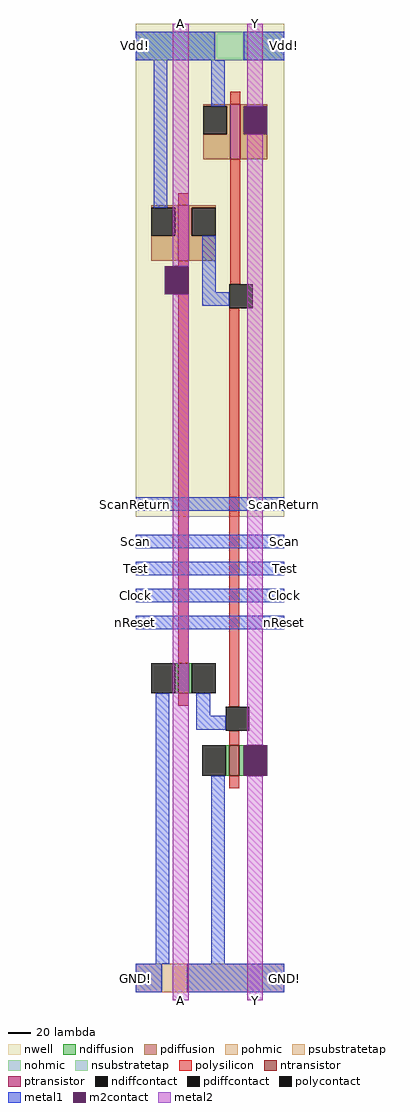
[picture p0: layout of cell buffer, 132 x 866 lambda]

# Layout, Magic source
magic
tech tsmc180
<< nwell >>
rect 0 429 132 866
<< polysilicon >>
rect 84 795 93 806
rect 38 705 47 716
rect 38 651 47 656
rect 84 635 93 746
rect 38 299 47 626
rect 38 261 47 272
rect 83 260 92 614
rect 83 226 92 239
rect 83 188 92 199
<< ndiffusion >>
rect 35 272 38 299
rect 47 272 50 299
rect 80 199 83 226
rect 92 199 96 226
<< pdiffusion >>
rect 60 793 84 795
rect 81 768 84 793
rect 60 746 84 768
rect 93 793 117 795
rect 93 768 96 793
rect 93 746 117 768
rect 14 703 38 705
rect 35 678 38 703
rect 14 656 38 678
rect 47 703 71 705
rect 47 678 50 703
rect 47 656 71 678
<< pohmic >>
rect 0 7 23 32
rect 46 7 132 32
<< nohmic >>
rect 0 834 70 859
rect 96 834 132 859
<< ntransistor >>
rect 38 272 47 299
rect 83 199 92 226
<< ptransistor >>
rect 84 746 93 795
rect 38 656 47 705
<< polycontact >>
rect 26 626 47 651
rect 83 614 104 635
rect 80 239 101 260
<< ndiffcontact >>
rect 14 272 35 299
rect 50 272 71 299
rect 59 199 80 226
rect 96 199 117 226
<< pdiffcontact >>
rect 60 768 81 793
rect 96 768 117 793
rect 14 678 35 703
rect 50 678 71 703
<< psubstratetap >>
rect 23 7 46 32
<< nsubstratetap >>
rect 70 834 96 859
<< metal1 >>
rect 0 834 70 859
rect 96 834 132 859
rect 16 703 28 834
rect 67 793 79 834
rect 59 628 71 678
rect 59 616 83 628
rect 0 434 132 446
rect 0 401 132 413
rect 0 377 132 389
rect 0 353 132 365
rect 0 329 132 341
rect 18 32 30 272
rect 54 252 66 272
rect 54 240 80 252
rect 67 32 79 199
rect 0 7 23 32
rect 46 7 132 32
<< m2contact >>
rect 96 768 117 793
rect 26 626 47 651
rect 96 199 117 226
<< metal2 >>
rect 33 651 47 866
rect 99 793 113 866
rect 33 0 47 626
rect 99 226 113 768
rect 99 0 113 199
<< labels >>
rlabel metal1 0 834 0 859 3 Vdd!
rlabel metal1 0 329 0 341 3 nReset
rlabel metal1 0 7 0 32 3 GND!
rlabel metal1 0 353 0 365 3 Clock
rlabel metal1 0 377 0 389 3 Test
rlabel metal1 0 401 0 413 3 Scan
rlabel metal1 0 434 0 446 3 ScanReturn
rlabel metal2 99 0 113 0 1 Y
rlabel metal2 33 0 47 0 1 A
rlabel metal1 132 7 132 32 7 GND!
rlabel metal1 132 329 132 341 7 nReset
rlabel metal1 132 834 132 859 7 Vdd!
rlabel metal1 132 353 132 365 7 Clock
rlabel metal1 132 377 132 389 7 Test
rlabel metal1 132 401 132 413 7 Scan
rlabel metal1 132 434 132 446 7 ScanReturn
rlabel metal2 33 866 47 866 5 A
rlabel metal2 99 866 113 866 5 Y
<< end >>
